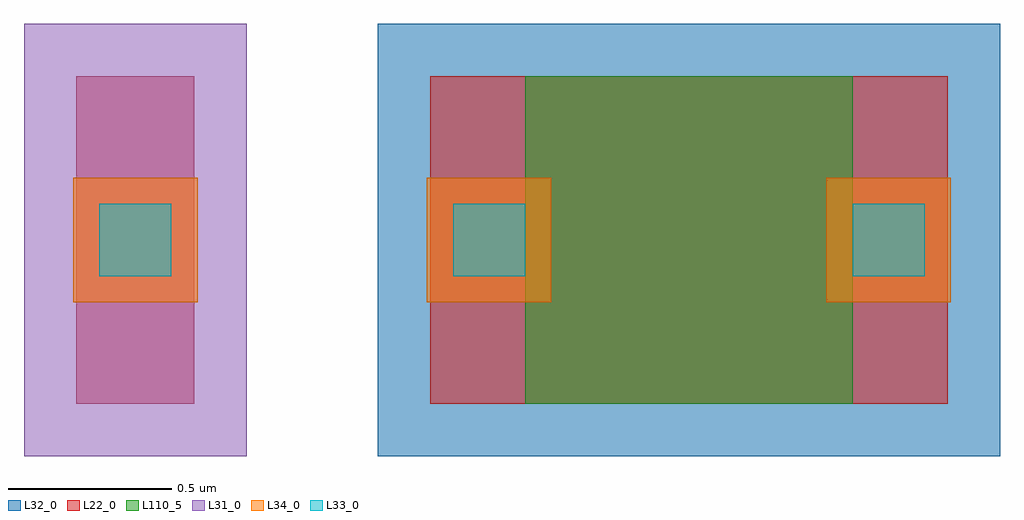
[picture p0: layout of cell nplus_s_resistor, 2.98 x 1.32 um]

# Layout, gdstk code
import gdstk
lib = gdstk.Library(unit=1e-6, precision=1e-09)
def R(c, l, rs):  # rectangles x0, y0, x1, y1
    for r in rs: c.add(gdstk.rectangle(r[:2], r[2:], *l))
L22_0 = (22, 0)
L31_0 = (31, 0)
L32_0 = (32, 0)
L33_0 = (33, 0)
L34_0 = (34, 0)
L110_5 = (110, 5)

nplus_s_resistor = lib.new_cell('nplus_s_resistor')
R(nplus_s_resistor, L22_0, [(-1.37,0,-1.01,1), (-0.29,0,1.29,1)])
R(nplus_s_resistor, L31_0, [(-1.53,-0.16,-0.85,1.16)])
R(nplus_s_resistor, L32_0, [(-0.45,-0.16,1.45,1.16)])
R(nplus_s_resistor, L33_0, [(-1.3,0.39,-1.08,0.61), (-0.22,0.39,0,0.61), (1,0.39,1.22,0.61)])
R(nplus_s_resistor, L34_0, [(-1.38,0.31,-1,0.69), (-0.3,0.31,0.08,0.69), (0.92,0.31,1.3,0.69)])
R(nplus_s_resistor, L110_5, [(0,0,1,1)])

lib.write_gds('nplus_s_resistor.gds')
